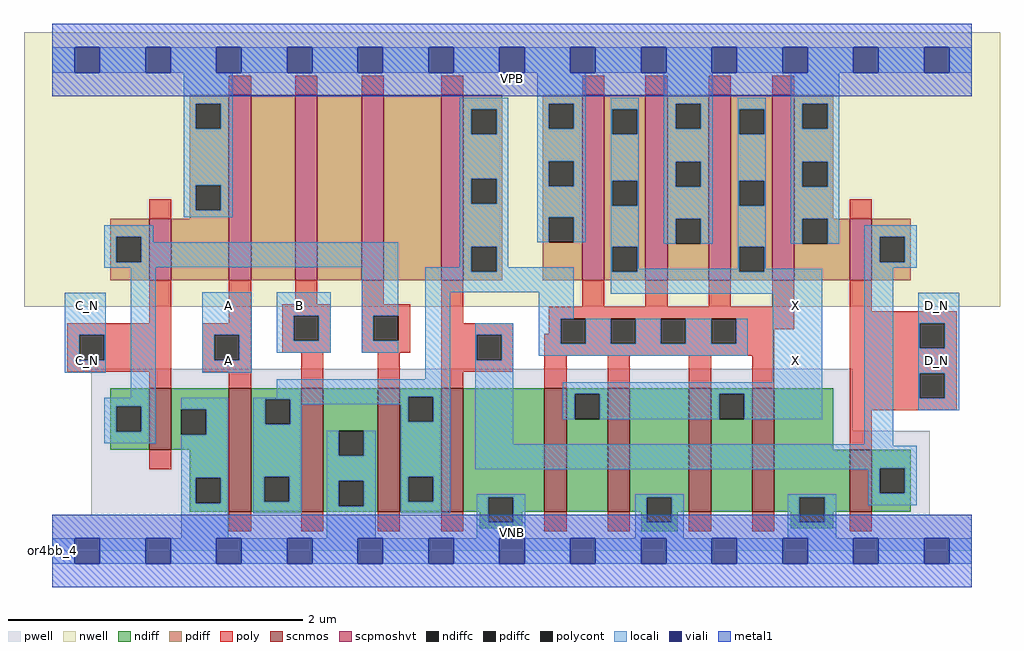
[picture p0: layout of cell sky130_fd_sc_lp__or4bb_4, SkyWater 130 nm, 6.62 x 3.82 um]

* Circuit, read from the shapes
.subckt sky130_fd_sc_lp__or4bb_4 A B C_N D_N VGND VNB VPB VPWR X
XM1 VGND C_N n1 VNB sky130_fd_pr__nfet_01v8 w=0.42 l=0.15
XM2 n2 A VGND VNB sky130_fd_pr__nfet_01v8 w=0.84 l=0.15
XM3 VGND B n2 VNB sky130_fd_pr__nfet_01v8 w=0.84 l=0.15
XM4 n2 n1 VGND VNB sky130_fd_pr__nfet_01v8 w=0.84 l=0.15
XM5 VGND n3 n2 VNB sky130_fd_pr__nfet_01v8 w=0.84 l=0.15
XM6 X n2 VGND VNB sky130_fd_pr__nfet_01v8 w=0.84 l=0.15 m=4
XM7 n3 D_N VGND VNB sky130_fd_pr__nfet_01v8 w=0.42 l=0.15
XM8 VPWR C_N n1 VPB sky130_fd_pr__pfet_01v8_hvt w=0.42 l=0.15
XM9 n4 A VPWR VPB sky130_fd_pr__pfet_01v8_hvt w=1.26 l=0.15
XM10 n5 B n4 VPB sky130_fd_pr__pfet_01v8_hvt w=1.26 l=0.15
XM11 n6 n1 n5 VPB sky130_fd_pr__pfet_01v8_hvt w=1.26 l=0.15
XM12 n2 n3 n6 VPB sky130_fd_pr__pfet_01v8_hvt w=1.26 l=0.15
XM13 X n2 VPWR VPB sky130_fd_pr__pfet_01v8_hvt w=1.26 l=0.15 m=4
XM14 n3 D_N VPWR VPB sky130_fd_pr__pfet_01v8_hvt w=0.42 l=0.15
.ends

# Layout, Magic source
magic
tech sky130A
magscale 1 2
<< nwell >>
rect -38 331 1286 704
<< pwell >>
rect 53 163 1086 247
rect 53 49 1191 163
rect 0 0 1248 49
<< scnmos >>
rect 132 137 162 221
rect 240 53 270 221
rect 338 53 368 221
rect 442 53 472 221
rect 528 53 558 221
rect 668 53 698 221
rect 754 53 784 221
rect 864 53 894 221
rect 950 53 980 221
rect 1082 53 1112 137
<< scpmoshvt >>
rect 132 367 162 451
rect 240 367 270 619
rect 330 367 360 619
rect 420 367 450 619
rect 528 367 558 619
rect 719 367 749 619
rect 805 367 835 619
rect 891 367 921 619
rect 977 367 1007 619
rect 1082 367 1112 451
<< ndiff >>
rect 79 196 132 221
rect 79 162 87 196
rect 121 162 132 196
rect 79 137 132 162
rect 162 192 240 221
rect 162 158 175 192
rect 209 158 240 192
rect 162 137 240 158
rect 187 99 240 137
rect 187 65 195 99
rect 229 65 240 99
rect 187 53 240 65
rect 270 206 338 221
rect 270 172 289 206
rect 323 172 338 206
rect 270 101 338 172
rect 270 67 288 101
rect 322 67 338 101
rect 270 53 338 67
rect 368 163 442 221
rect 368 129 389 163
rect 423 129 442 163
rect 368 95 442 129
rect 368 61 389 95
rect 423 61 442 95
rect 368 53 442 61
rect 472 209 528 221
rect 472 175 483 209
rect 517 175 528 209
rect 472 101 528 175
rect 472 67 483 101
rect 517 67 528 101
rect 472 53 528 67
rect 558 73 668 221
rect 558 53 592 73
rect 580 39 592 53
rect 626 53 668 73
rect 698 213 754 221
rect 698 179 709 213
rect 743 179 754 213
rect 698 53 754 179
rect 784 73 864 221
rect 784 53 807 73
rect 626 39 638 53
rect 580 31 638 39
rect 799 39 807 53
rect 841 53 864 73
rect 894 213 950 221
rect 894 179 905 213
rect 939 179 950 213
rect 894 53 950 179
rect 980 137 1060 221
rect 980 73 1082 137
rect 980 53 1014 73
rect 841 39 849 53
rect 799 27 849 39
rect 1002 39 1014 53
rect 1048 53 1082 73
rect 1112 112 1165 137
rect 1112 78 1123 112
rect 1157 78 1165 112
rect 1112 53 1165 78
rect 1048 39 1060 53
rect 1002 31 1060 39
<< pdiff >>
rect 187 607 240 619
rect 187 573 195 607
rect 229 573 240 607
rect 187 496 240 573
rect 187 462 195 496
rect 229 462 240 496
rect 187 451 240 462
rect 79 426 132 451
rect 79 392 87 426
rect 121 392 132 426
rect 79 367 132 392
rect 162 367 240 451
rect 270 367 330 619
rect 360 367 420 619
rect 450 367 528 619
rect 558 599 611 619
rect 558 565 569 599
rect 603 565 611 599
rect 558 505 611 565
rect 558 471 569 505
rect 603 471 611 505
rect 558 413 611 471
rect 558 379 569 413
rect 603 379 611 413
rect 558 367 611 379
rect 666 607 719 619
rect 666 573 674 607
rect 708 573 719 607
rect 666 529 719 573
rect 666 495 674 529
rect 708 495 719 529
rect 666 453 719 495
rect 666 419 674 453
rect 708 419 719 453
rect 666 367 719 419
rect 749 599 805 619
rect 749 565 760 599
rect 794 565 805 599
rect 749 502 805 565
rect 749 468 760 502
rect 794 468 805 502
rect 749 413 805 468
rect 749 379 760 413
rect 794 379 805 413
rect 749 367 805 379
rect 835 607 891 619
rect 835 573 846 607
rect 880 573 891 607
rect 835 528 891 573
rect 835 494 846 528
rect 880 494 891 528
rect 835 451 891 494
rect 835 417 846 451
rect 880 417 891 451
rect 835 367 891 417
rect 921 599 977 619
rect 921 565 932 599
rect 966 565 977 599
rect 921 502 977 565
rect 921 468 932 502
rect 966 468 977 502
rect 921 413 977 468
rect 921 379 932 413
rect 966 379 977 413
rect 921 367 977 379
rect 1007 607 1060 619
rect 1007 573 1018 607
rect 1052 573 1060 607
rect 1007 528 1060 573
rect 1007 494 1018 528
rect 1052 494 1060 528
rect 1007 451 1060 494
rect 1007 417 1018 451
rect 1052 417 1082 451
rect 1007 367 1082 417
rect 1112 426 1165 451
rect 1112 392 1123 426
rect 1157 392 1165 426
rect 1112 367 1165 392
<< ndiffc >>
rect 87 162 121 196
rect 175 158 209 192
rect 195 65 229 99
rect 289 172 323 206
rect 288 67 322 101
rect 389 129 423 163
rect 389 61 423 95
rect 483 175 517 209
rect 483 67 517 101
rect 592 39 626 73
rect 709 179 743 213
rect 807 39 841 73
rect 905 179 939 213
rect 1014 39 1048 73
rect 1123 78 1157 112
<< pdiffc >>
rect 195 573 229 607
rect 195 462 229 496
rect 87 392 121 426
rect 569 565 603 599
rect 569 471 603 505
rect 569 379 603 413
rect 674 573 708 607
rect 674 495 708 529
rect 674 419 708 453
rect 760 565 794 599
rect 760 468 794 502
rect 760 379 794 413
rect 846 573 880 607
rect 846 494 880 528
rect 846 417 880 451
rect 932 565 966 599
rect 932 468 966 502
rect 932 379 966 413
rect 1018 573 1052 607
rect 1018 494 1052 528
rect 1018 417 1052 451
rect 1123 392 1157 426
<< poly >>
rect 240 619 270 645
rect 330 619 360 645
rect 420 619 450 645
rect 528 619 558 645
rect 719 619 749 645
rect 805 619 835 645
rect 891 619 921 645
rect 977 619 1007 645
rect 132 451 162 477
rect 1082 451 1112 477
rect 132 309 162 367
rect 240 309 270 367
rect 330 335 360 367
rect 420 335 450 367
rect 21 293 162 309
rect 21 259 37 293
rect 71 259 162 293
rect 21 243 162 259
rect 204 293 270 309
rect 204 259 220 293
rect 254 259 270 293
rect 312 319 378 335
rect 312 285 328 319
rect 362 285 378 319
rect 312 269 378 285
rect 420 319 486 335
rect 420 285 436 319
rect 470 285 486 319
rect 420 269 486 285
rect 528 309 558 367
rect 719 331 749 367
rect 805 331 835 367
rect 891 331 921 367
rect 977 331 1007 367
rect 674 315 1007 331
rect 528 293 626 309
rect 674 295 690 315
rect 204 243 270 259
rect 132 221 162 243
rect 240 221 270 243
rect 338 221 368 269
rect 442 221 472 269
rect 528 259 576 293
rect 610 259 626 293
rect 528 243 626 259
rect 668 281 690 295
rect 724 281 758 315
rect 792 281 826 315
rect 860 281 894 315
rect 928 301 1007 315
rect 1082 325 1112 367
rect 1082 309 1227 325
rect 928 281 980 301
rect 668 265 980 281
rect 528 221 558 243
rect 668 221 698 265
rect 754 221 784 265
rect 864 221 894 265
rect 950 221 980 265
rect 1082 275 1177 309
rect 1211 275 1227 309
rect 1082 241 1227 275
rect 132 111 162 137
rect 240 27 270 53
rect 338 27 368 53
rect 442 27 472 53
rect 528 27 558 53
rect 668 27 698 53
rect 754 27 784 53
rect 1082 207 1177 241
rect 1211 207 1227 241
rect 1082 191 1227 207
rect 1082 137 1112 191
rect 864 27 894 53
rect 950 27 980 53
rect 1082 27 1112 53
<< polycont >>
rect 37 259 71 293
rect 220 259 254 293
rect 328 285 362 319
rect 436 285 470 319
rect 576 259 610 293
rect 690 281 724 315
rect 758 281 792 315
rect 826 281 860 315
rect 894 281 928 315
rect 1177 275 1211 309
rect 1177 207 1211 241
<< locali >>
rect 0 649 31 683
rect 65 649 127 683
rect 161 649 223 683
rect 257 649 319 683
rect 353 649 415 683
rect 449 649 511 683
rect 545 649 607 683
rect 641 649 703 683
rect 737 649 799 683
rect 833 649 895 683
rect 929 649 991 683
rect 1025 649 1087 683
rect 1121 649 1183 683
rect 1217 649 1248 683
rect 179 607 245 649
rect 179 573 195 607
rect 229 573 245 607
rect 179 496 245 573
rect 179 462 195 496
rect 229 462 245 496
rect 179 453 245 462
rect 553 599 619 615
rect 553 565 569 599
rect 603 565 619 599
rect 553 505 619 565
rect 553 471 569 505
rect 603 471 619 505
rect 71 426 137 442
rect 71 392 87 426
rect 121 419 137 426
rect 121 392 470 419
rect 71 385 470 392
rect 553 413 619 471
rect 658 607 724 649
rect 658 573 674 607
rect 708 573 724 607
rect 658 529 724 573
rect 658 495 674 529
rect 708 495 724 529
rect 658 453 724 495
rect 658 419 674 453
rect 708 419 724 453
rect 758 599 796 615
rect 758 565 760 599
rect 794 565 796 599
rect 758 502 796 565
rect 758 468 760 502
rect 794 468 796 502
rect 553 385 569 413
rect 71 384 141 385
rect 17 293 73 350
rect 17 259 37 293
rect 71 259 73 293
rect 17 242 73 259
rect 107 208 141 384
rect 204 293 271 351
rect 204 259 220 293
rect 254 259 271 293
rect 305 319 378 351
rect 305 285 328 319
rect 362 285 378 319
rect 305 269 378 285
rect 420 319 470 385
rect 420 285 436 319
rect 420 269 470 285
rect 506 379 569 385
rect 603 385 619 413
rect 758 413 796 468
rect 830 607 896 649
rect 830 573 846 607
rect 880 573 896 607
rect 830 528 896 573
rect 830 494 846 528
rect 880 494 896 528
rect 830 451 896 494
rect 830 417 846 451
rect 880 417 896 451
rect 930 599 968 615
rect 930 565 932 599
rect 966 565 968 599
rect 930 502 968 565
rect 930 468 932 502
rect 966 468 968 502
rect 603 379 708 385
rect 506 351 708 379
rect 204 242 271 259
rect 506 233 540 351
rect 660 315 708 351
rect 758 379 760 413
rect 794 383 796 413
rect 930 413 968 468
rect 1002 607 1068 649
rect 1002 573 1018 607
rect 1052 573 1068 607
rect 1002 528 1068 573
rect 1002 494 1018 528
rect 1052 494 1068 528
rect 1002 451 1068 494
rect 1002 417 1018 451
rect 1052 417 1068 451
rect 1102 426 1173 442
rect 930 383 932 413
rect 794 379 932 383
rect 966 383 968 413
rect 1102 392 1123 426
rect 1157 392 1173 426
rect 1102 384 1173 392
rect 966 379 1045 383
rect 758 349 1045 379
rect 305 209 540 233
rect 305 208 483 209
rect 71 196 141 208
rect 71 162 87 196
rect 121 162 141 196
rect 71 146 141 162
rect 175 192 239 208
rect 209 158 239 192
rect 175 99 239 158
rect 175 65 195 99
rect 229 65 239 99
rect 175 17 239 65
rect 273 206 483 208
rect 273 172 289 206
rect 323 199 483 206
rect 323 172 339 199
rect 273 101 339 172
rect 473 175 483 199
rect 517 175 540 209
rect 273 67 288 101
rect 322 67 339 101
rect 273 51 339 67
rect 373 129 389 163
rect 423 129 439 163
rect 373 95 439 129
rect 373 61 389 95
rect 423 61 439 95
rect 373 17 439 61
rect 473 101 540 175
rect 574 293 626 309
rect 574 259 576 293
rect 610 259 626 293
rect 660 281 690 315
rect 724 281 758 315
rect 792 281 826 315
rect 860 281 894 315
rect 928 281 944 315
rect 660 265 944 281
rect 574 145 626 259
rect 978 229 1045 349
rect 693 213 1045 229
rect 693 179 709 213
rect 743 179 905 213
rect 939 179 1045 213
rect 1102 145 1141 384
rect 1175 309 1231 350
rect 1175 275 1177 309
rect 1211 275 1231 309
rect 1175 241 1231 275
rect 1175 207 1177 241
rect 1211 207 1231 241
rect 1175 191 1231 207
rect 574 143 1141 145
rect 574 112 1173 143
rect 574 111 1123 112
rect 473 67 483 101
rect 517 67 540 101
rect 1107 78 1123 111
rect 1157 78 1173 112
rect 473 51 540 67
rect 576 73 642 77
rect 576 39 592 73
rect 626 39 642 73
rect 576 17 642 39
rect 791 73 857 77
rect 791 39 807 73
rect 841 39 857 73
rect 791 17 857 39
rect 998 73 1064 77
rect 998 39 1014 73
rect 1048 39 1064 73
rect 1107 62 1173 78
rect 998 17 1064 39
rect 0 -17 31 17
rect 65 -17 127 17
rect 161 -17 223 17
rect 257 -17 319 17
rect 353 -17 415 17
rect 449 -17 511 17
rect 545 -17 607 17
rect 641 -17 703 17
rect 737 -17 799 17
rect 833 -17 895 17
rect 929 -17 991 17
rect 1025 -17 1087 17
rect 1121 -17 1183 17
rect 1217 -17 1248 17
<< viali >>
rect 31 649 65 683
rect 127 649 161 683
rect 223 649 257 683
rect 319 649 353 683
rect 415 649 449 683
rect 511 649 545 683
rect 607 649 641 683
rect 703 649 737 683
rect 799 649 833 683
rect 895 649 929 683
rect 991 649 1025 683
rect 1087 649 1121 683
rect 1183 649 1217 683
rect 31 -17 65 17
rect 127 -17 161 17
rect 223 -17 257 17
rect 319 -17 353 17
rect 415 -17 449 17
rect 511 -17 545 17
rect 607 -17 641 17
rect 703 -17 737 17
rect 799 -17 833 17
rect 895 -17 929 17
rect 991 -17 1025 17
rect 1087 -17 1121 17
rect 1183 -17 1217 17
<< metal1 >>
rect 0 683 1248 715
rect 0 649 31 683
rect 65 649 127 683
rect 161 649 223 683
rect 257 649 319 683
rect 353 649 415 683
rect 449 649 511 683
rect 545 649 607 683
rect 641 649 703 683
rect 737 649 799 683
rect 833 649 895 683
rect 929 649 991 683
rect 1025 649 1087 683
rect 1121 649 1183 683
rect 1217 649 1248 683
rect 0 617 1248 649
rect 0 17 1248 49
rect 0 -17 31 17
rect 65 -17 127 17
rect 161 -17 223 17
rect 257 -17 319 17
rect 353 -17 415 17
rect 449 -17 511 17
rect 545 -17 607 17
rect 641 -17 703 17
rect 737 -17 799 17
rect 833 -17 895 17
rect 929 -17 991 17
rect 1025 -17 1087 17
rect 1121 -17 1183 17
rect 1217 -17 1248 17
rect 0 -49 1248 -17
<< labels >>
flabel pwell s 0 0 1248 49 0 FreeSans 200 0 0 0 VNB
port 6 nsew ground bidirectional
flabel nwell s 0 617 1248 666 0 FreeSans 200 0 0 0 VPB
port 7 nsew power bidirectional
rlabel comment s 0 0 0 0 4 or4bb_4
flabel metal1 s 0 617 1248 666 0 FreeSans 340 0 0 0 VPWR
port 8 nsew power bidirectional
flabel metal1 s 0 0 1248 49 0 FreeSans 340 0 0 0 VGND
port 5 nsew ground bidirectional
flabel locali s 223 242 257 276 0 FreeSans 340 0 0 0 A
port 1 nsew signal input
flabel locali s 223 316 257 350 0 FreeSans 340 0 0 0 A
port 1 nsew signal input
flabel locali s 319 316 353 350 0 FreeSans 340 0 0 0 B
port 2 nsew signal input
flabel locali s 31 242 65 276 0 FreeSans 340 0 0 0 C_N
port 3 nsew signal input
flabel locali s 31 316 65 350 0 FreeSans 340 0 0 0 C_N
port 3 nsew signal input
flabel locali s 1183 242 1217 276 0 FreeSans 340 0 0 0 D_N
port 4 nsew signal input
flabel locali s 1183 316 1217 350 0 FreeSans 340 0 0 0 D_N
port 4 nsew signal input
flabel locali s 991 242 1025 276 0 FreeSans 340 0 0 0 X
port 9 nsew signal output
flabel locali s 991 316 1025 350 0 FreeSans 340 0 0 0 X
port 9 nsew signal output
<< properties >>
string LEFsite unit
string LEFclass CORE
string FIXED_BBOX 0 0 1248 666
string GDS_FILE $PDKPATH/libs.ref/sky130_fd_sc_lp/gds/sky130_fd_sc_lp.gds
string LEFsymmetry X Y R90
string GDS_END 6796874
string GDS_START 6787062
<< end >>
